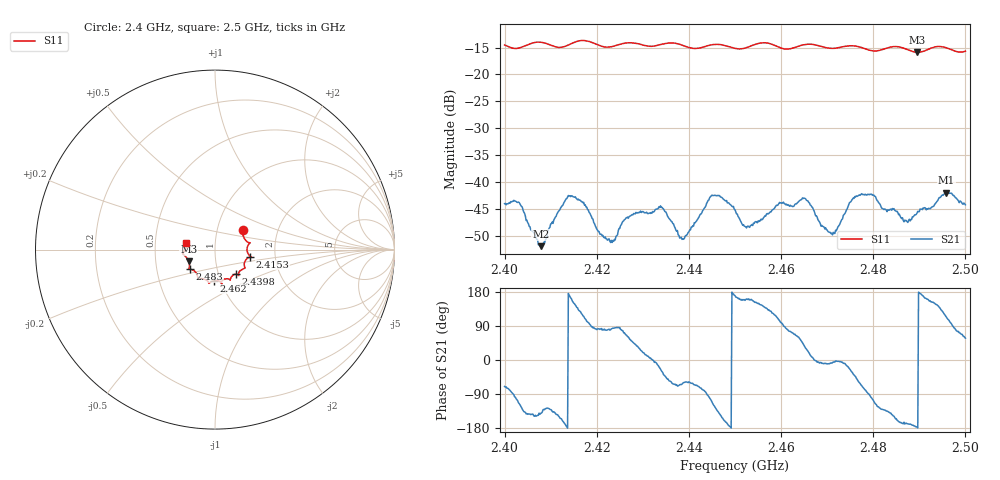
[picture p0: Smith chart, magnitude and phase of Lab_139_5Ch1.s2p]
# Hz S RI R 50
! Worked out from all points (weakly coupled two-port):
!   601 points, 2.4 GHz to 2.5 GHz, reference 50 ohm
!   highest |S21| = -41.97 dB at 2.4958 GHz (marker M1); lowest = -51.9 dB at 2.4078 GHz (marker M2)
!   lowest |S11| = -15.9 dB at 2.4895 GHz (marker M3), VSWR 1.38, Z = 37 - j4.99 ohm
!   |S11| at or under -10 dB: start of sweep to end of sweep
!   S12 and S22 are empty: the file has one direction only
!   S11 on the Smith chart (normalised r, x): 2.4 GHz: 1.33, +0.29; 2.4153 GHz: 1.48, -0.12; 2.4398 GHz: 1.21, -0.34; 2.462 GHz: 0.93, -0.33; 2.483 GHz: 0.74, -0.17; 2.5 GHz: 0.72, +0.06
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2.4e9  0.1552 0.1066  0.00217 -0.00593  0 0  0 0
2.403333e9  0.1682 0.0552  -0.00294 -0.00554  0 0  0 0
2.407833e9  0.1955 0.038  -0.00198 -0.00161  0 0  0 0
2.413333e9  0.1829 -0.0192  -0.00695 -0.000791  0 0  0 0
2.415333e9  0.1965 -0.0384  -0.00601 0.00419  0 0  0 0
2.416667e9  0.2022 -0.0425  -0.00356 0.00555  0 0  0 0
2.423333e9  0.1629 -0.0801  0.000336 0.00274  0 0  0 0
2.426167e9  0.1674 -0.1008  0.00165 0.00422  0 0  0 0
2.433333e9  0.1311 -0.1335  0.00553 -0.00144  0 0  0 0
2.439833e9  0.1153 -0.1366  0.00172 -0.00295  0 0  0 0
2.445e9  0.0846 -0.1686  -0.00271 -0.00708  0 0  0 0
2.45e9  0.0646 -0.1625  -0.00547 0.000976  0 0  0 0
2.452667e9  0.0398 -0.1741  -0.00366 0.0013  0 0  0 0
2.462e9  -0.00519 -0.1733  0.00156 0.0059  0 0  0 0
2.466667e9  -0.0343 -0.1875  0.00584 0.000807  0 0  0 0
2.471167e9  -0.0602 -0.1641  0.00322 -0.000402  0 0  0 0
2.4765e9  -0.0949 -0.1558  0.00465 -0.00574  0 0  0 0
2.483e9  -0.1376 -0.1097  -0.00376 -0.00378  0 0  0 0
2.483333e9  -0.1402 -0.1095  -0.00405 -0.00373  0 0  0 0
2.4895e9  -0.1463 -0.0658  -0.00516 -0.000239  0 0  0 0
2.495833e9  -0.1764 -0.0161  -0.00323 0.00729  0 0  0 0
2.5e9  -0.1598 0.0392  0.00331 0.00521  0 0  0 0
